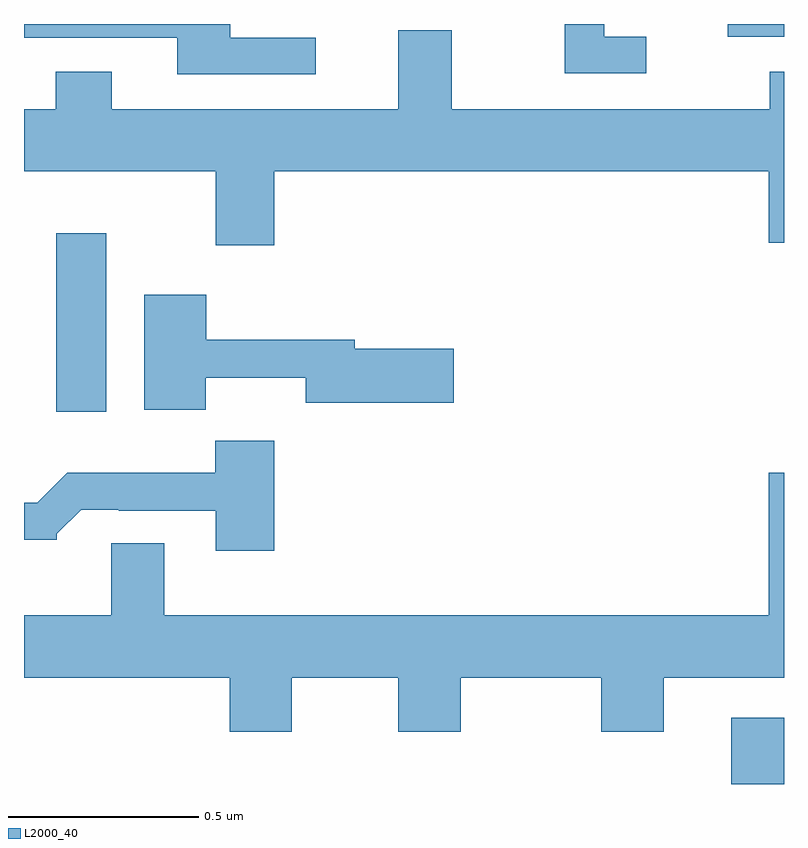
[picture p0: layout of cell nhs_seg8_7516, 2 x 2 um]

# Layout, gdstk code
import gdstk
lib = gdstk.Library(unit=1e-6, precision=1e-09)
def R(c, l, rs):  # rectangles x0, y0, x1, y1
    for r in rs: c.add(gdstk.rectangle(r[:2], r[2:], *l))
def P(c, l, *ps):  # polygons
    for p in ps: c.add(gdstk.Polygon(p, *l))
L2000_40 = (2000, 40)

nhs_seg8_7516 = lib.new_cell('nhs_seg8_7516')
R(nhs_seg8_7516, L2000_40, [(212.861,1102.9,213,1103.074), (211.085,1103.88,211.216,1104.349), (212.852,1104.866,213,1104.9)])
P(nhs_seg8_7516, L2000_40, [(211.768,1104.864),(211.543,1104.864),(211.543,1104.9),(211,1104.9),(211,1104.864),(211.403,1104.864),(211.403,1104.768),(211.768,1104.768)],
  [(212.638,1104.867),(212.527,1104.867),(212.527,1104.9),(212.423,1104.9),(212.423,1104.771),(212.638,1104.771)],
  [(211.658,1104.512),(212.96,1104.512),(212.96,1104.324),(213,1104.324),(213,1104.775),(212.962,1104.775),(212.962,1104.676),(212.125,1104.676),(212.125,1104.884),(211.985,1104.884),(211.985,1104.676),(211.231,1104.676),(211.231,1104.775),(211.084,1104.775),(211.084,1104.676),(211,1104.676),(211,1104.512),(211.505,1104.512),(211.505,1104.318),(211.658,1104.318)],
  [(211.478,1103.969),(211.742,1103.969),(211.742,1103.903),(212.131,1103.903),(212.131,1104.045),(211.87,1104.045),(211.87,1104.069),(211.48,1104.069),(211.48,1104.187),(211.316,1104.187),(211.316,1103.885),(211.478,1103.885)],
  [(211.658,1103.803),(211.503,1103.803),(211.503,1103.719),(211.114,1103.719),(211.035,1103.64),(211,1103.64),(211,1103.543),(211.086,1103.543),(211.086,1103.558),(211.15,1103.622),(211.249,1103.622),(211.249,1103.619),(211.505,1103.619),(211.505,1103.514),(211.658,1103.514)],
  [(211.705,1103.18),(211.985,1103.18),(211.985,1103.037),(212.149,1103.037),(212.149,1103.18),(212.519,1103.18),(212.519,1103.037),(212.683,1103.037),(212.683,1103.18),(213,1103.18),(213,1103.719),(212.96,1103.719),(212.96,1103.344),(211.369,1103.344),(211.369,1103.534),(211.229,1103.534),(211.229,1103.344),(211,1103.344),(211,1103.18),(211.541,1103.18),(211.541,1103.037),(211.705,1103.037)])

lib.write_gds('nhs_seg8_7516.gds')
